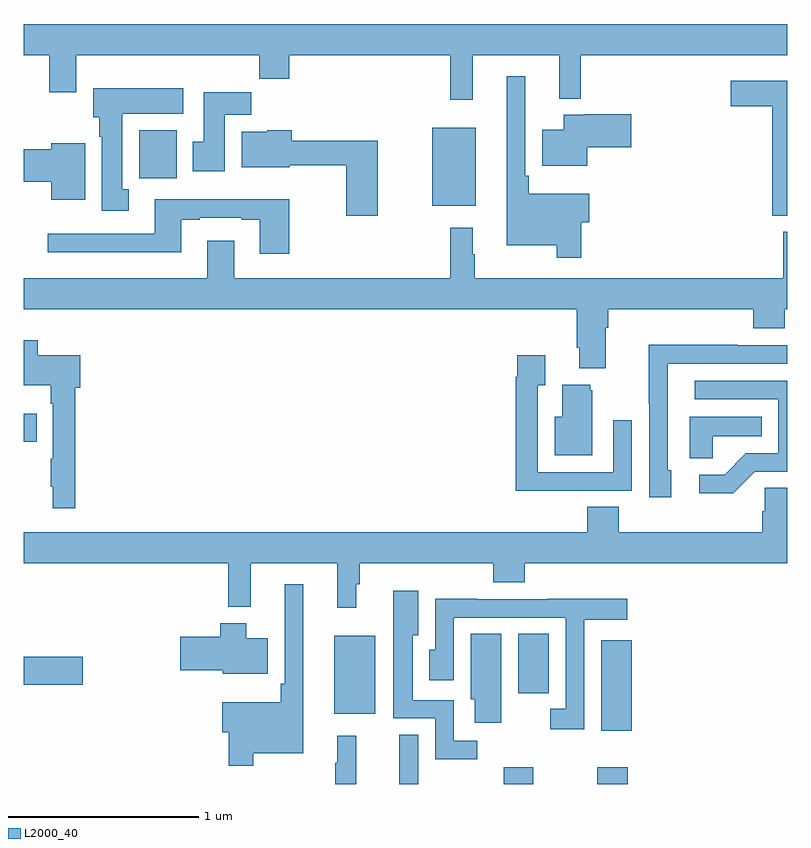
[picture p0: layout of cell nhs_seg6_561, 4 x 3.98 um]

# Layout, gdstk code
import gdstk
lib = gdstk.Library(unit=1e-6, precision=1e-09)
def R(c, l, rs):  # rectangles x0, y0, x1, y1
    for r in rs: c.add(gdstk.rectangle(r[:2], r[2:], *l))
def P(c, l, *ps):  # polygons
    for p in ps: c.add(gdstk.Polygon(p, *l))
L2000_40 = (2000, 40)

nhs_seg6_561 = lib.new_cell('nhs_seg6_561')
R(nhs_seg6_561, L2000_40, [(146.966,959.5,147.067,959.759), (147.514,959.5,147.669,959.587), (148.006,959.5,148.166,959.587), (148.025,959.778,148.186,960.253), (146.627,959.867,146.842,960.277), (147.59,959.976,147.751,960.287), (145,960.02,145.309,960.167), (145,961.294,145.067,961.441), (147.14,962.531,147.367,962.941), (145.605,962.676,145.801,962.926)])
P(nhs_seg6_561, L2000_40, [(147.353,963.32),(147.806,963.32),(147.806,963.092),(147.919,963.092),(147.919,963.32),(149,963.32),(149,963.484),(145,963.484),(145,963.32),(145.133,963.32),(145.133,963.126),(145.273,963.126),(145.273,963.32),(146.233,963.32),(146.233,963.196),(146.39,963.196),(146.39,963.32),(147.235,963.32),(147.235,963.087),(147.353,963.087)],
  [(147.92,962.446),(147.964,962.446),(147.964,962.593),(147.647,962.593),(147.647,962.689),(147.627,962.689),(147.627,963.211),(147.53,963.211),(147.53,962.324),(147.792,962.324),(147.792,962.259),(147.92,962.259)],
  [(149,963.187),(148.704,963.187),(148.704,963.053),(148.922,963.053),(148.922,962.48),(149,962.48)],
  [(145.549,962.617),(145.516,962.617),(145.516,963.014),(145.834,963.014),(145.834,963.148),(145.364,963.148),(145.364,962.994),(145.394,962.994),(145.394,962.894),(145.409,962.894),(145.409,962.505),(145.549,962.505)],
  [(146.053,963.008),(146.192,963.008),(146.192,963.127),(145.943,963.127),(145.943,962.868),(145.886,962.868),(145.886,962.712),(146.053,962.712)],
  [(147.952,962.837),(148.183,962.837),(148.183,963.012),(147.934,963.012),(147.934,963.007),(147.83,963.007),(147.83,962.929),(147.716,962.929),(147.716,962.741),(147.952,962.741)],
  [(146.854,962.872),(146.405,962.872),(146.405,962.926),(146.274,962.926),(146.274,962.92),(146.141,962.92),(146.141,962.732),(146.392,962.732),(146.392,962.743),(146.689,962.743),(146.689,962.478),(146.854,962.478)],
  [(145.321,962.86),(145.142,962.86),(145.142,962.828),(145,962.828),(145,962.657),(145.142,962.657),(145.142,962.564),(145.321,962.564)],
  [(146.39,962.566),(145.685,962.566),(145.685,962.385),(145.125,962.385),(145.125,962.288),(145.825,962.288),(145.825,962.457),(145.921,962.457),(145.921,962.469),(146.141,962.469),(146.141,962.457),(146.237,962.457),(146.237,962.28),(146.39,962.28)],
  [(147.235,962.416),(147.235,962.152),(146.101,962.152),(146.101,962.347),(145.961,962.347),(145.961,962.152),(145,962.152),(145,961.988),(147.899,961.988),(147.899,961.786),(147.911,961.786),(147.911,961.679),(148.051,961.679),(148.051,961.892),(148.064,961.892),(148.064,961.988),(148.823,961.988),(148.823,961.889),(148.988,961.889),(148.988,961.988),(149,961.988),(149,962.395),(148.979,962.395),(148.979,962.152),(147.364,962.152),(147.364,962.276),(147.352,962.276),(147.352,962.416)],
  [(145.268,961.577),(145.295,961.577),(145.295,961.747),(145.073,961.747),(145.073,961.825),(145,961.825),(145,961.589),(145.14,961.589),(145.14,961.493),(145.152,961.493),(145.152,961.205),(145.14,961.205),(145.14,961.057),(145.151,961.057),(145.151,960.945),(145.268,960.945)],
  [(148.393,961.146),(148.374,961.146),(148.374,961.704),(149,961.704),(149,961.8),(148.739,961.8),(148.739,961.802),(148.276,961.802),(148.276,961.495),(148.278,961.495),(148.278,961.002),(148.393,961.002)],
  [(147.869,961.038),(148.185,961.038),(148.185,961.408),(148.089,961.408),(148.089,961.134),(147.693,961.134),(147.693,961.591),(147.733,961.591),(147.733,961.747),(147.585,961.747),(147.585,961.634),(147.577,961.634),(147.577,961.037),(147.869,961.037)],
  [(148.83,961.137),(149,961.137),(149,961.614),(148.515,961.614),(148.515,961.518),(148.953,961.518),(148.953,961.233),(148.784,961.233),(148.673,961.122),(148.539,961.122),(148.539,961.025),(148.717,961.025)],
  [(147.979,961.563),(147.968,961.563),(147.968,961.594),(147.821,961.594),(147.821,961.426),(147.782,961.426),(147.782,961.223),(147.979,961.223)],
  [(148.611,961.322),(148.868,961.322),(148.868,961.426),(148.49,961.426),(148.49,961.207),(148.611,961.207)],
  [(146.741,960.548),(146.759,960.548),(146.759,960.656),(147.461,960.656),(147.461,960.557),(147.626,960.557),(147.626,960.656),(149,960.656),(149,961.052),(148.884,961.052),(148.884,960.929),(148.871,960.929),(148.871,960.82),(148.118,960.82),(148.118,960.953),(147.953,960.953),(147.953,960.82),(145,960.82),(145,960.656),(146.071,960.656),(146.071,960.428),(146.189,960.428),(146.189,960.656),(146.642,960.656),(146.642,960.423),(146.741,960.423)],
  [(146.203,959.66),(146.464,959.66),(146.464,960.547),(146.367,960.547),(146.367,960.025),(146.347,960.025),(146.347,959.929),(146.04,959.929),(146.04,959.771),(146.074,959.771),(146.074,959.595),(146.203,959.595)],
  [(147.376,959.727),(147.252,959.727),(147.252,959.94),(147.037,959.94),(147.037,960.281),(147.067,960.281),(147.067,960.514),(146.936,960.514),(146.936,959.844),(147.156,959.844),(147.156,959.63),(147.376,959.63)],
  [(147.936,960.362),(148.162,960.362),(148.162,960.47),(147.743,960.47),(147.743,960.468),(147.377,960.468),(147.377,960.47),(147.156,960.47),(147.156,960.204),(147.125,960.204),(147.125,960.045),(147.252,960.045),(147.252,960.372),(147.84,960.372),(147.84,959.895),(147.759,959.895),(147.759,959.787),(147.936,959.787)],
  [(146.278,960.265),(146.164,960.265),(146.164,960.343),(146.03,960.343),(146.03,960.273),(145.818,960.273),(145.818,960.095),(146.042,960.095),(146.042,960.077),(146.278,960.077)],
  [(147.502,960.287),(147.341,960.287),(147.341,959.943),(147.362,959.943),(147.362,959.82),(147.502,959.82)],
  [(146.742,959.752),(146.642,959.752),(146.642,959.612),(146.631,959.612),(146.631,959.5),(146.742,959.5)])

lib.write_gds('nhs_seg6_561.gds')
